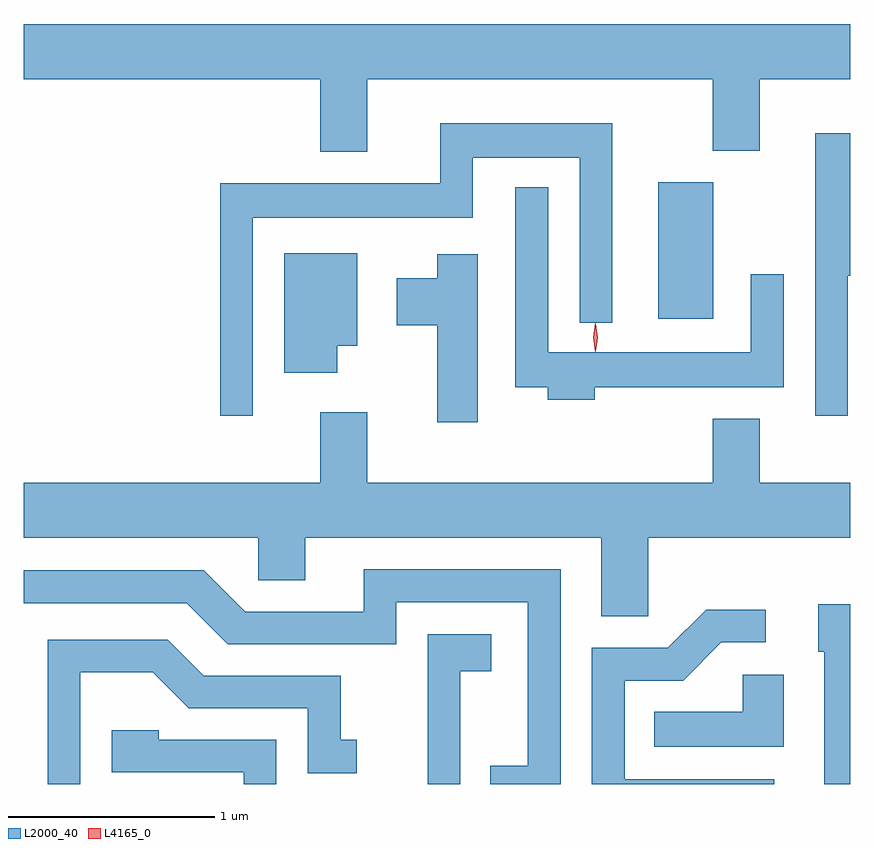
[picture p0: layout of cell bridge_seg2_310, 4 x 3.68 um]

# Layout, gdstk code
import gdstk
lib = gdstk.Library(unit=1e-6, precision=1e-09)
def R(c, l, rs):  # rectangles x0, y0, x1, y1
    for r in rs: c.add(gdstk.rectangle(r[:2], r[2:], *l))
def P(c, l, *ps):  # polygons
    for p in ps: c.add(gdstk.Polygon(p, *l))
L2000_40 = (2000, 40)
L4165_0 = (4165, 0)

bridge_seg2_310 = lib.new_cell('bridge_seg2_310')
R(bridge_seg2_310, L2000_40, [(412.096,1069.356,412.364,1070.019)])
P(bridge_seg2_310, L2000_40, [(410.689,1070.516),(412.361,1070.516),(412.361,1070.171),(412.589,1070.171),(412.589,1070.516),(413.026,1070.516),(413.026,1070.784),(409.026,1070.784),(409.026,1070.516),(410.461,1070.516),(410.461,1070.166),(410.689,1070.166)],
  [(410.134,1069.846),(411.199,1069.846),(411.199,1070.136),(411.716,1070.136),(411.716,1069.338),(411.874,1069.338),(411.874,1070.304),(411.041,1070.304),(411.041,1070.014),(409.976,1070.014),(409.976,1068.888),(410.134,1068.888)],
  [(413.014,1069.566),(413.026,1069.566),(413.026,1070.254),(412.856,1070.254),(412.856,1068.888),(413.014,1068.888)],
  [(411.789,1069.026),(412.704,1069.026),(412.704,1069.573),(412.546,1069.573),(412.546,1069.194),(411.564,1069.194),(411.564,1069.993),(411.406,1069.993),(411.406,1069.026),(411.561,1069.026),(411.561,1068.966),(411.789,1068.966)],
  [(410.544,1069.226),(410.639,1069.226),(410.639,1069.674),(410.286,1069.674),(410.286,1069.096),(410.544,1069.096)],
  [(411.224,1069.669),(411.026,1069.669),(411.026,1069.554),(410.831,1069.554),(410.831,1069.326),(411.026,1069.326),(411.026,1068.856),(411.224,1068.856)],
  [(412.049,1068.296),(413.026,1068.296),(413.026,1068.564),(412.589,1068.564),(412.589,1068.874),(412.361,1068.874),(412.361,1068.564),(410.689,1068.564),(410.689,1068.904),(410.461,1068.904),(410.461,1068.564),(409.026,1068.564),(409.026,1068.296),(410.161,1068.296),(410.161,1068.091),(410.389,1068.091),(410.389,1068.296),(411.821,1068.296),(411.821,1067.916),(412.049,1067.916)],
  [(411.624,1068.144),(410.671,1068.144),(410.671,1067.939),(410.097,1067.939),(409.897,1068.139),(409.026,1068.139),(409.026,1067.981),(409.814,1067.981),(410.014,1067.781),(410.829,1067.781),(410.829,1067.986),(411.466,1067.986),(411.466,1067.194),(411.283,1067.194),(411.283,1067.105),(411.624,1067.105)],
  [(413.026,1067.974),(412.871,1067.974),(412.871,1067.746),(412.901,1067.746),(412.901,1067.105),(413.026,1067.105)],
  [(412.658,1067.129),(411.934,1067.129),(411.934,1067.606),(412.217,1067.606),(412.402,1067.791),(412.618,1067.791),(412.618,1067.949),(412.329,1067.949),(412.144,1067.764),(411.776,1067.764),(411.776,1067.105),(412.658,1067.105)],
  [(411.139,1067.651),(411.289,1067.651),(411.289,1067.829),(410.981,1067.829),(410.981,1067.105),(411.139,1067.105)],
  [(409.299,1067.646),(409.649,1067.646),(409.824,1067.471),(410.401,1067.471),(410.401,1067.156),(410.638,1067.156),(410.638,1067.319),(410.559,1067.319),(410.559,1067.629),(409.897,1067.629),(409.722,1067.804),(409.141,1067.804),(409.141,1067.105),(409.299,1067.105)],
  [(412.704,1067.634),(412.506,1067.634),(412.506,1067.454),(412.078,1067.454),(412.078,1067.286),(412.704,1067.286)],
  [(410.249,1067.319),(409.679,1067.319),(409.679,1067.364),(409.451,1067.364),(409.451,1067.161),(410.091,1067.161),(410.091,1067.105),(410.249,1067.105)])
P(bridge_seg2_310, L4165_0, [(411.792,1069.197),(411.783,1069.267),(411.792,1069.336),(411.793,1069.336),(411.793,1069.336),(411.803,1069.267),(411.793,1069.197),(411.793,1069.197)],
  [(411.795,1069.199),(411.794,1069.2),(411.785,1069.266),(411.794,1069.332),(411.795,1069.333),(411.795,1069.332),(411.805,1069.266),(411.795,1069.2)])

lib.write_gds('bridge_seg2_310.gds')
